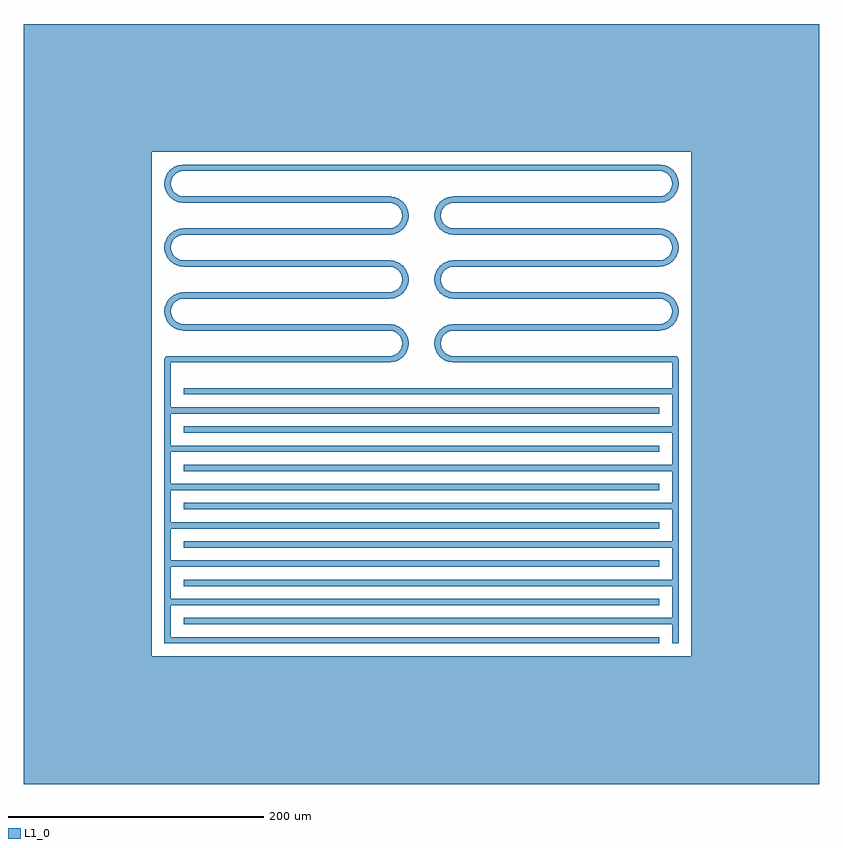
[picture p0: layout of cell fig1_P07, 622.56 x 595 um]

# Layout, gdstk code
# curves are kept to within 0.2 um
import gdstk
lib = gdstk.Library(unit=1e-6, precision=1e-09)
def R(c, l, rs):  # rectangles x0, y0, x1, y1
    for r in rs: c.add(gdstk.rectangle(r[:2], r[2:], *l))
def A(c, l, x, y, w, h, nx, ny, dx, dy):  # array of equal rectangles
    R(c, l, [(x+i*dx, y+j*dy, x+i*dx+w, y+j*dy+h) for i in range(nx) for j in range(ny)])
def P(c, l, *ps):  # polygons
    for p in ps: c.add(gdstk.Polygon(p, *l))
L1_0 = (1, 0)

fig1_p07 = lib.new_cell('fig1_P07')
A(fig1_p07, L1_0, -201.282, 0, 387.564, 5, 1, 7, 0, 30)
A(fig1_p07, L1_0, -186.282, 15, 387.564, 5, 1, 7, 0, 30)
A(fig1_p07, L1_0, -186.282, 245, 161.282, 5, 1, 5, 0, 25)
A(fig1_p07, L1_0, 25, 245, 161.282, 5, 1, 5, 0, 25)
R(fig1_p07, L1_0, [(-311.282,-110,311.282,-10), (-311.282,-10,-211.282,385), (211.282,-10,311.282,385), (-201.282,0,-196.282,200), (196.282,0,201.282,200), (-201.282,197.5,-196.282,222.5), (196.282,197.5,201.282,222.5), (-198.782,220,-25,225), (25,220,198.782,225), (-186.282,370,186.282,375), (-311.282,385,311.282,485)])
P(fig1_p07, L1_0, [(14.979,334.674),(10.021,335.326),(10.447,338.562),(15.405,337.909)],
  [(12.926,335.735),(11.158,336.467),(10.426,338.235),(11.158,340.003),(12.926,340.735),(14.694,340.003),(15.426,338.235),(14.694,336.467)],
  [(12.5,332.5),(10.732,333.232),(10,335),(10.732,336.768),(12.5,337.5),(14.268,336.768),(15,335),(14.268,333.232)],
  [(194.054,347.191),(191.01,351.158),(193.599,353.145),(196.643,349.178)],
  [(190.474,345.616),(188.561,350.236),(191.575,351.484),(193.489,346.865)],
  [(186.608,345.021),(185.956,349.979),(189.191,350.405),(189.844,345.447)],
  [(189.191,369.595),(185.956,370.021),(186.608,374.979),(189.844,374.553)],
  [(191.575,368.516),(188.561,369.764),(190.474,374.384),(193.489,373.135)],
  [(193.599,366.855),(191.01,368.842),(194.054,372.809),(196.643,370.822)],
  [(195.124,364.728),(193.137,367.317),(197.104,370.361),(199.091,367.772)],
  [(196.046,362.279),(194.798,365.293),(199.417,367.207),(200.666,364.192)],
  [(196.303,359.674),(195.877,362.909),(200.835,363.562),(201.261,360.326)],
  [(200.835,356.438),(195.877,357.091),(196.303,360.326),(201.261,359.674)],
  [(186.282,370),(184.514,370.732),(183.782,372.5),(184.514,374.268),(186.282,375),(188.05,374.268),(188.782,372.5),(188.05,370.732)],
  [(189.517,369.574),(187.749,370.306),(187.017,372.074),(187.749,373.842),(189.517,374.574),(191.285,373.842),(192.017,372.074),(191.285,370.306)],
  [(192.532,368.325),(190.764,369.058),(190.032,370.825),(190.764,372.593),(192.532,373.325),(194.3,372.593),(195.032,370.825),(194.3,369.058)],
  [(195.121,366.339),(193.353,367.071),(192.621,368.839),(193.353,370.607),(195.121,371.339),(196.889,370.607),(197.621,368.839),(196.889,367.071)],
  [(197.107,363.75),(195.34,364.482),(194.607,366.25),(195.34,368.018),(197.107,368.75),(198.875,368.018),(199.607,366.25),(198.875,364.482)],
  [(198.356,360.735),(196.588,361.467),(195.856,363.235),(196.588,365.003),(198.356,365.735),(200.124,365.003),(200.856,363.235),(200.124,361.467)],
  [(198.782,357.5),(197.014,358.232),(196.282,360),(197.014,361.768),(198.782,362.5),(200.55,361.768),(201.282,360),(200.55,358.232)],
  [(198.356,354.265),(196.588,354.997),(195.856,356.765),(196.588,358.533),(198.356,359.265),(200.124,358.533),(200.856,356.765),(200.124,354.997)],
  [(197.107,351.25),(195.34,351.982),(194.607,353.75),(195.34,355.518),(197.107,356.25),(198.875,355.518),(199.607,353.75),(198.875,351.982)],
  [(195.121,348.661),(193.353,349.393),(192.621,351.161),(193.353,352.929),(195.121,353.661),(196.889,352.929),(197.621,351.161),(196.889,349.393)],
  [(192.532,346.675),(190.764,347.407),(190.032,349.175),(190.764,350.942),(192.532,351.675),(194.3,350.942),(195.032,349.175),(194.3,347.407)],
  [(189.517,345.426),(187.749,346.158),(187.017,347.926),(187.749,349.694),(189.517,350.426),(191.285,349.694),(192.017,347.926),(191.285,346.158)],
  [(186.282,345),(184.514,345.732),(183.782,347.5),(184.514,349.268),(186.282,350),(188.05,349.268),(188.782,347.5),(188.05,345.732)],
  [(199.417,352.793),(194.798,354.707),(196.046,357.721),(200.666,355.808)],
  [(197.104,349.639),(193.137,352.683),(195.124,355.272),(199.091,352.228)],
  [(19.707,343.516),(17.793,348.135),(20.808,349.384),(22.721,344.764)],
  [(17.683,341.855),(14.639,345.822),(17.228,347.809),(20.272,343.842)],
  [(16.158,339.728),(12.191,342.772),(14.178,345.361),(18.145,342.317)],
  [(25,345),(23.232,345.732),(22.5,347.5),(23.232,349.268),(25,350),(26.768,349.268),(27.5,347.5),(26.768,345.732)],
  [(21.765,344.574),(19.997,345.306),(19.265,347.074),(19.997,348.842),(21.765,349.574),(23.533,348.842),(24.265,347.074),(23.533,345.306)],
  [(18.75,343.325),(16.982,344.058),(16.25,345.825),(16.982,347.593),(18.75,348.325),(20.518,347.593),(21.25,345.825),(20.518,344.058)],
  [(16.161,341.339),(14.393,342.071),(13.661,343.839),(14.393,345.607),(16.161,346.339),(17.929,345.607),(18.661,343.839),(17.929,342.071)],
  [(14.175,338.75),(12.407,339.482),(11.675,341.25),(12.407,343.018),(14.175,343.75),(15.942,343.018),(16.675,341.25),(15.942,339.482)],
  [(15.236,337.279),(10.616,339.192),(11.865,342.207),(16.484,340.293)],
  [(22.091,344.595),(21.438,349.553),(24.674,349.979),(25.326,345.021)],
  [(16.158,239.728),(12.191,242.772),(14.178,245.361),(18.145,242.317)],
  [(15.236,237.279),(10.616,239.192),(11.865,242.207),(16.484,240.293)],
  [(14.979,234.674),(10.021,235.326),(10.447,238.562),(15.405,237.909)],
  [(10.447,231.438),(10.021,234.674),(14.979,235.326),(15.405,232.091)],
  [(11.865,227.793),(10.616,230.808),(15.236,232.721),(16.484,229.707)],
  [(14.178,224.639),(12.191,227.228),(16.158,230.272),(18.145,227.683)],
  [(17.228,222.191),(14.639,224.178),(17.683,228.145),(20.272,226.158)],
  [(20.808,220.616),(17.793,221.865),(19.707,226.484),(22.721,225.236)],
  [(24.674,220.021),(21.438,220.447),(22.091,225.405),(25.326,224.979)],
  [(20.808,320.616),(17.793,321.865),(19.707,326.484),(22.721,325.236)],
  [(24.674,320.021),(21.438,320.447),(22.091,325.405),(25.326,324.979)],
  [(10.447,331.438),(10.021,334.674),(14.979,335.326),(15.405,332.091)],
  [(11.865,327.793),(10.616,330.808),(15.236,332.721),(16.484,329.707)],
  [(22.091,294.595),(21.438,299.553),(24.674,299.979),(25.326,295.021)],
  [(19.707,293.516),(17.793,298.135),(20.808,299.384),(22.721,294.764)],
  [(17.683,291.855),(14.639,295.822),(17.228,297.809),(20.272,293.842)],
  [(16.158,289.728),(12.191,292.772),(14.178,295.361),(18.145,292.317)],
  [(15.236,287.279),(10.616,289.192),(11.865,292.207),(16.484,290.293)],
  [(14.979,284.674),(10.021,285.326),(10.447,288.562),(15.405,287.909)],
  [(10.447,281.438),(10.021,284.674),(14.979,285.326),(15.405,282.091)],
  [(11.865,277.793),(10.616,280.808),(15.236,282.721),(16.484,279.707)],
  [(14.178,274.639),(12.191,277.228),(16.158,280.272),(18.145,277.683)],
  [(17.228,272.191),(14.639,274.178),(17.683,278.145),(20.272,276.158)],
  [(20.808,270.616),(17.793,271.865),(19.707,276.484),(22.721,275.236)],
  [(24.674,270.021),(21.438,270.447),(22.091,275.405),(25.326,274.979)],
  [(14.178,324.639),(12.191,327.228),(16.158,330.272),(18.145,327.683)],
  [(17.228,322.191),(14.639,324.178),(17.683,328.145),(20.272,326.158)],
  [(22.091,244.595),(21.438,249.553),(24.674,249.979),(25.326,245.021)],
  [(19.707,243.516),(17.793,248.135),(20.808,249.384),(22.721,244.764)],
  [(17.683,241.855),(14.639,245.822),(17.228,247.809),(20.272,243.842)],
  [(12.926,329.265),(11.158,329.997),(10.426,331.765),(11.158,333.533),(12.926,334.265),(14.694,333.533),(15.426,331.765),(14.694,329.997)],
  [(14.175,326.25),(12.407,326.982),(11.675,328.75),(12.407,330.518),(14.175,331.25),(15.942,330.518),(16.675,328.75),(15.942,326.982)],
  [(16.161,323.661),(14.393,324.393),(13.661,326.161),(14.393,327.929),(16.161,328.661),(17.929,327.929),(18.661,326.161),(17.929,324.393)],
  [(18.75,321.675),(16.982,322.407),(16.25,324.175),(16.982,325.942),(18.75,326.675),(20.518,325.942),(21.25,324.175),(20.518,322.407)],
  [(21.765,320.426),(19.997,321.158),(19.265,322.926),(19.997,324.694),(21.765,325.426),(23.533,324.694),(24.265,322.926),(23.533,321.158)],
  [(25,320),(23.232,320.732),(22.5,322.5),(23.232,324.268),(25,325),(26.768,324.268),(27.5,322.5),(26.768,320.732)],
  [(25,295),(23.232,295.732),(22.5,297.5),(23.232,299.268),(25,300),(26.768,299.268),(27.5,297.5),(26.768,295.732)],
  [(21.765,294.574),(19.997,295.306),(19.265,297.074),(19.997,298.842),(21.765,299.574),(23.533,298.842),(24.265,297.074),(23.533,295.306)],
  [(18.75,293.325),(16.982,294.058),(16.25,295.825),(16.982,297.593),(18.75,298.325),(20.518,297.593),(21.25,295.825),(20.518,294.058)],
  [(16.161,291.339),(14.393,292.071),(13.661,293.839),(14.393,295.607),(16.161,296.339),(17.929,295.607),(18.661,293.839),(17.929,292.071)],
  [(14.175,288.75),(12.407,289.482),(11.675,291.25),(12.407,293.018),(14.175,293.75),(15.942,293.018),(16.675,291.25),(15.942,289.482)],
  [(12.926,285.735),(11.158,286.467),(10.426,288.235),(11.158,290.003),(12.926,290.735),(14.694,290.003),(15.426,288.235),(14.694,286.467)],
  [(12.5,282.5),(10.732,283.232),(10,285),(10.732,286.768),(12.5,287.5),(14.268,286.768),(15,285),(14.268,283.232)],
  [(12.926,279.265),(11.158,279.997),(10.426,281.765),(11.158,283.533),(12.926,284.265),(14.694,283.533),(15.426,281.765),(14.694,279.997)],
  [(14.175,276.25),(12.407,276.982),(11.675,278.75),(12.407,280.518),(14.175,281.25),(15.942,280.518),(16.675,278.75),(15.942,276.982)],
  [(16.161,273.661),(14.393,274.393),(13.661,276.161),(14.393,277.929),(16.161,278.661),(17.929,277.929),(18.661,276.161),(17.929,274.393)],
  [(18.75,271.675),(16.982,272.407),(16.25,274.175),(16.982,275.942),(18.75,276.675),(20.518,275.942),(21.25,274.175),(20.518,272.407)],
  [(21.765,270.426),(19.997,271.158),(19.265,272.926),(19.997,274.694),(21.765,275.426),(23.533,274.694),(24.265,272.926),(23.533,271.158)],
  [(25,270),(23.232,270.732),(22.5,272.5),(23.232,274.268),(25,275),(26.768,274.268),(27.5,272.5),(26.768,270.732)],
  [(25,245),(23.232,245.732),(22.5,247.5),(23.232,249.268),(25,250),(26.768,249.268),(27.5,247.5),(26.768,245.732)],
  [(21.765,244.574),(19.997,245.306),(19.265,247.074),(19.997,248.842),(21.765,249.574),(23.533,248.842),(24.265,247.074),(23.533,245.306)],
  [(18.75,243.325),(16.982,244.058),(16.25,245.825),(16.982,247.593),(18.75,248.325),(20.518,247.593),(21.25,245.825),(20.518,244.058)],
  [(16.161,241.339),(14.393,242.071),(13.661,243.839),(14.393,245.607),(16.161,246.339),(17.929,245.607),(18.661,243.839),(17.929,242.071)],
  [(14.175,238.75),(12.407,239.482),(11.675,241.25),(12.407,243.018),(14.175,243.75),(15.942,243.018),(16.675,241.25),(15.942,239.482)],
  [(12.926,235.735),(11.158,236.467),(10.426,238.235),(11.158,240.003),(12.926,240.735),(14.694,240.003),(15.426,238.235),(14.694,236.467)],
  [(12.5,232.5),(10.732,233.232),(10,235),(10.732,236.768),(12.5,237.5),(14.268,236.768),(15,235),(14.268,233.232)],
  [(12.926,229.265),(11.158,229.997),(10.426,231.765),(11.158,233.533),(12.926,234.265),(14.694,233.533),(15.426,231.765),(14.694,229.997)],
  [(14.175,226.25),(12.407,226.982),(11.675,228.75),(12.407,230.518),(14.175,231.25),(15.942,230.518),(16.675,228.75),(15.942,226.982)],
  [(16.161,223.661),(14.393,224.393),(13.661,226.161),(14.393,227.929),(16.161,228.661),(17.929,227.929),(18.661,226.161),(17.929,224.393)],
  [(18.75,221.675),(16.982,222.407),(16.25,224.175),(16.982,225.942),(18.75,226.675),(20.518,225.942),(21.25,224.175),(20.518,222.407)],
  [(21.765,220.426),(19.997,221.158),(19.265,222.926),(19.997,224.694),(21.765,225.426),(23.533,224.694),(24.265,222.926),(23.533,221.158)],
  [(25,220),(23.232,220.732),(22.5,222.5),(23.232,224.268),(25,225),(26.768,224.268),(27.5,222.5),(26.768,220.732)],
  [(189.517,319.574),(187.749,320.306),(187.017,322.074),(187.749,323.842),(189.517,324.574),(191.285,323.842),(192.017,322.074),(191.285,320.306)],
  [(192.532,318.325),(190.764,319.058),(190.032,320.825),(190.764,322.593),(192.532,323.325),(194.3,322.593),(195.032,320.825),(194.3,319.058)],
  [(195.121,316.339),(193.353,317.071),(192.621,318.839),(193.353,320.607),(195.121,321.339),(196.889,320.607),(197.621,318.839),(196.889,317.071)],
  [(197.107,313.75),(195.34,314.482),(194.607,316.25),(195.34,318.018),(197.107,318.75),(198.875,318.018),(199.607,316.25),(198.875,314.482)],
  [(198.356,310.735),(196.588,311.467),(195.856,313.235),(196.588,315.003),(198.356,315.735),(200.124,315.003),(200.856,313.235),(200.124,311.467)],
  [(198.782,307.5),(197.014,308.232),(196.282,310),(197.014,311.768),(198.782,312.5),(200.55,311.768),(201.282,310),(200.55,308.232)],
  [(198.356,304.265),(196.588,304.997),(195.856,306.765),(196.588,308.533),(198.356,309.265),(200.124,308.533),(200.856,306.765),(200.124,304.997)],
  [(197.107,301.25),(195.34,301.982),(194.607,303.75),(195.34,305.518),(197.107,306.25),(198.875,305.518),(199.607,303.75),(198.875,301.982)],
  [(195.121,298.661),(193.353,299.393),(192.621,301.161),(193.353,302.929),(195.121,303.661),(196.889,302.929),(197.621,301.161),(196.889,299.393)],
  [(192.532,296.675),(190.764,297.407),(190.032,299.175),(190.764,300.942),(192.532,301.675),(194.3,300.942),(195.032,299.175),(194.3,297.407)],
  [(189.517,295.426),(187.749,296.158),(187.017,297.926),(187.749,299.694),(189.517,300.426),(191.285,299.694),(192.017,297.926),(191.285,296.158)],
  [(186.282,295),(184.514,295.732),(183.782,297.5),(184.514,299.268),(186.282,300),(188.05,299.268),(188.782,297.5),(188.05,295.732)],
  [(193.599,266.855),(191.01,268.842),(194.054,272.809),(196.643,270.822)],
  [(195.124,264.728),(193.137,267.317),(197.104,270.361),(199.091,267.772)],
  [(196.046,262.279),(194.798,265.293),(199.417,267.207),(200.666,264.192)],
  [(196.303,259.674),(195.877,262.909),(200.835,263.562),(201.261,260.326)],
  [(200.835,256.438),(195.877,257.091),(196.303,260.326),(201.261,259.674)],
  [(199.417,252.793),(194.798,254.707),(196.046,257.721),(200.666,255.808)],
  [(197.104,249.639),(193.137,252.683),(195.124,255.272),(199.091,252.228)],
  [(194.054,247.191),(191.01,251.158),(193.599,253.145),(196.643,249.178)],
  [(190.474,245.616),(188.561,250.236),(191.575,251.484),(193.489,246.865)],
  [(186.608,245.021),(185.956,249.979),(189.191,250.405),(189.844,245.447)],
  [(189.191,319.595),(185.956,320.021),(186.608,324.979),(189.844,324.553)],
  [(191.575,318.516),(188.561,319.764),(190.474,324.384),(193.489,323.135)],
  [(193.599,316.855),(191.01,318.842),(194.054,322.809),(196.643,320.822)],
  [(186.282,270),(184.514,270.732),(183.782,272.5),(184.514,274.268),(186.282,275),(188.05,274.268),(188.782,272.5),(188.05,270.732)],
  [(189.517,269.574),(187.749,270.306),(187.017,272.074),(187.749,273.842),(189.517,274.574),(191.285,273.842),(192.017,272.074),(191.285,270.306)],
  [(192.532,268.325),(190.764,269.058),(190.032,270.825),(190.764,272.593),(192.532,273.325),(194.3,272.593),(195.032,270.825),(194.3,269.058)],
  [(195.121,266.339),(193.353,267.071),(192.621,268.839),(193.353,270.607),(195.121,271.339),(196.889,270.607),(197.621,268.839),(196.889,267.071)],
  [(197.107,263.75),(195.34,264.482),(194.607,266.25),(195.34,268.018),(197.107,268.75),(198.875,268.018),(199.607,266.25),(198.875,264.482)],
  [(198.356,260.735),(196.588,261.467),(195.856,263.235),(196.588,265.003),(198.356,265.735),(200.124,265.003),(200.856,263.235),(200.124,261.467)],
  [(198.782,257.5),(197.014,258.232),(196.282,260),(197.014,261.768),(198.782,262.5),(200.55,261.768),(201.282,260),(200.55,258.232)],
  [(198.356,254.265),(196.588,254.997),(195.856,256.765),(196.588,258.533),(198.356,259.265),(200.124,258.533),(200.856,256.765),(200.124,254.997)],
  [(197.107,251.25),(195.34,251.982),(194.607,253.75),(195.34,255.518),(197.107,256.25),(198.875,255.518),(199.607,253.75),(198.875,251.982)],
  [(195.121,248.661),(193.353,249.393),(192.621,251.161),(193.353,252.929),(195.121,253.661),(196.889,252.929),(197.621,251.161),(196.889,249.393)],
  [(192.532,246.675),(190.764,247.407),(190.032,249.175),(190.764,250.942),(192.532,251.675),(194.3,250.942),(195.032,249.175),(194.3,247.407)],
  [(189.517,245.426),(187.749,246.158),(187.017,247.926),(187.749,249.694),(189.517,250.426),(191.285,249.694),(192.017,247.926),(191.285,246.158)],
  [(186.282,245),(184.514,245.732),(183.782,247.5),(184.514,249.268),(186.282,250),(188.05,249.268),(188.782,247.5),(188.05,245.732)],
  [(195.124,314.728),(193.137,317.317),(197.104,320.361),(199.091,317.772)],
  [(196.046,312.279),(194.798,315.293),(199.417,317.207),(200.666,314.192)],
  [(196.303,309.674),(195.877,312.909),(200.835,313.562),(201.261,310.326)],
  [(200.835,306.438),(195.877,307.091),(196.303,310.326),(201.261,309.674)],
  [(199.417,302.793),(194.798,304.707),(196.046,307.721),(200.666,305.808)],
  [(197.104,299.639),(193.137,302.683),(195.124,305.272),(199.091,302.228)],
  [(194.054,297.191),(191.01,301.158),(193.599,303.145),(196.643,299.178)],
  [(190.474,295.616),(188.561,300.236),(191.575,301.484),(193.489,296.865)],
  [(186.608,295.021),(185.956,299.979),(189.191,300.405),(189.844,295.447)],
  [(189.191,269.595),(185.956,270.021),(186.608,274.979),(189.844,274.553)],
  [(191.575,268.516),(188.561,269.764),(190.474,274.384),(193.489,273.135)],
  [(186.282,320),(184.514,320.732),(183.782,322.5),(184.514,324.268),(186.282,325),(188.05,324.268),(188.782,322.5),(188.05,320.732)],
  [(198.782,220),(197.014,220.732),(196.282,222.5),(197.014,224.268),(198.782,225),(200.55,224.268),(201.282,222.5),(200.55,220.732)],
  [(-12.5,332.5),(-14.268,333.232),(-15,335),(-14.268,336.768),(-12.5,337.5),(-10.732,336.768),(-10,335),(-10.732,333.232)],
  [(-12.926,335.735),(-14.694,336.467),(-15.426,338.235),(-14.694,340.003),(-12.926,340.735),(-11.158,340.003),(-10.426,338.235),(-11.158,336.467)],
  [(-14.979,334.674),(-15.405,337.909),(-10.447,338.562),(-10.021,335.326)],
  [(-18.75,343.325),(-20.518,344.058),(-21.25,345.825),(-20.518,347.593),(-18.75,348.325),(-16.982,347.593),(-16.25,345.825),(-16.982,344.058)],
  [(-21.765,344.574),(-23.533,345.306),(-24.265,347.074),(-23.533,348.842),(-21.765,349.574),(-19.997,348.842),(-19.265,347.074),(-19.997,345.306)],
  [(-25,345),(-26.768,345.732),(-27.5,347.5),(-26.768,349.268),(-25,350),(-23.232,349.268),(-22.5,347.5),(-23.232,345.732)],
  [(-14.175,338.75),(-15.942,339.482),(-16.675,341.25),(-15.942,343.018),(-14.175,343.75),(-12.407,343.018),(-11.675,341.25),(-12.407,339.482)],
  [(-15.236,337.279),(-16.484,340.293),(-11.865,342.207),(-10.616,339.192)],
  [(-16.158,339.728),(-18.145,342.317),(-14.178,345.361),(-12.191,342.772)],
  [(-17.683,341.855),(-20.272,343.842),(-17.228,347.809),(-14.639,345.822)],
  [(-19.707,343.516),(-22.721,344.764),(-20.808,349.384),(-17.793,348.135)],
  [(-22.091,344.595),(-25.326,345.021),(-24.674,349.979),(-21.438,349.553)],
  [(-16.161,341.339),(-17.929,342.071),(-18.661,343.839),(-17.929,345.607),(-16.161,346.339),(-14.393,345.607),(-13.661,343.839),(-14.393,342.071)],
  [(-186.282,370),(-188.05,370.732),(-188.782,372.5),(-188.05,374.268),(-186.282,375),(-184.514,374.268),(-183.782,372.5),(-184.514,370.732)],
  [(-186.282,345),(-188.05,345.732),(-188.782,347.5),(-188.05,349.268),(-186.282,350),(-184.514,349.268),(-183.782,347.5),(-184.514,345.732)],
  [(-189.517,345.426),(-191.285,346.158),(-192.017,347.926),(-191.285,349.694),(-189.517,350.426),(-187.749,349.694),(-187.017,347.926),(-187.749,346.158)],
  [(-192.532,346.675),(-194.3,347.407),(-195.032,349.175),(-194.3,350.942),(-192.532,351.675),(-190.764,350.942),(-190.032,349.175),(-190.764,347.407)],
  [(-195.121,348.661),(-196.889,349.393),(-197.621,351.161),(-196.889,352.929),(-195.121,353.661),(-193.353,352.929),(-192.621,351.161),(-193.353,349.393)],
  [(-197.107,351.25),(-198.875,351.982),(-199.607,353.75),(-198.875,355.518),(-197.107,356.25),(-195.34,355.518),(-194.607,353.75),(-195.34,351.982)],
  [(-198.356,354.265),(-200.124,354.997),(-200.856,356.765),(-200.124,358.533),(-198.356,359.265),(-196.588,358.533),(-195.856,356.765),(-196.588,354.997)],
  [(-198.782,357.5),(-200.55,358.232),(-201.282,360),(-200.55,361.768),(-198.782,362.5),(-197.014,361.768),(-196.282,360),(-197.014,358.232)],
  [(-198.356,360.735),(-200.124,361.467),(-200.856,363.235),(-200.124,365.003),(-198.356,365.735),(-196.588,365.003),(-195.856,363.235),(-196.588,361.467)],
  [(-197.107,363.75),(-198.875,364.482),(-199.607,366.25),(-198.875,368.018),(-197.107,368.75),(-195.34,368.018),(-194.607,366.25),(-195.34,364.482)],
  [(-195.121,366.339),(-196.889,367.071),(-197.621,368.839),(-196.889,370.607),(-195.121,371.339),(-193.353,370.607),(-192.621,368.839),(-193.353,367.071)],
  [(-192.532,368.325),(-194.3,369.058),(-195.032,370.825),(-194.3,372.593),(-192.532,373.325),(-190.764,372.593),(-190.032,370.825),(-190.764,369.058)],
  [(-189.517,369.574),(-191.285,370.306),(-192.017,372.074),(-191.285,373.842),(-189.517,374.574),(-187.749,373.842),(-187.017,372.074),(-187.749,370.306)],
  [(-186.608,345.021),(-189.844,345.447),(-189.191,350.405),(-185.956,349.979)],
  [(-190.474,345.616),(-193.489,346.865),(-191.575,351.484),(-188.561,350.236)],
  [(-194.054,347.191),(-196.643,349.178),(-193.599,353.145),(-191.01,351.158)],
  [(-197.104,349.639),(-199.091,352.228),(-195.124,355.272),(-193.137,352.683)],
  [(-199.417,352.793),(-200.666,355.808),(-196.046,357.721),(-194.798,354.707)],
  [(-200.835,356.438),(-201.261,359.674),(-196.303,360.326),(-195.877,357.091)],
  [(-196.303,359.674),(-201.261,360.326),(-200.835,363.562),(-195.877,362.909)],
  [(-196.046,362.279),(-200.666,364.192),(-199.417,367.207),(-194.798,365.293)],
  [(-195.124,364.728),(-199.091,367.772),(-197.104,370.361),(-193.137,367.317)],
  [(-193.599,366.855),(-196.643,370.822),(-194.054,372.809),(-191.01,368.842)],
  [(-191.575,368.516),(-193.489,373.135),(-190.474,374.384),(-188.561,369.764)],
  [(-189.191,369.595),(-189.844,374.553),(-186.608,374.979),(-185.956,370.021)],
  [(-195.121,298.661),(-196.889,299.393),(-197.621,301.161),(-196.889,302.929),(-195.121,303.661),(-193.353,302.929),(-192.621,301.161),(-193.353,299.393)],
  [(-197.107,301.25),(-198.875,301.982),(-199.607,303.75),(-198.875,305.518),(-197.107,306.25),(-195.34,305.518),(-194.607,303.75),(-195.34,301.982)],
  [(-198.356,304.265),(-200.124,304.997),(-200.856,306.765),(-200.124,308.533),(-198.356,309.265),(-196.588,308.533),(-195.856,306.765),(-196.588,304.997)],
  [(-198.782,307.5),(-200.55,308.232),(-201.282,310),(-200.55,311.768),(-198.782,312.5),(-197.014,311.768),(-196.282,310),(-197.014,308.232)],
  [(-198.356,310.735),(-200.124,311.467),(-200.856,313.235),(-200.124,315.003),(-198.356,315.735),(-196.588,315.003),(-195.856,313.235),(-196.588,311.467)],
  [(-186.608,245.021),(-189.844,245.447),(-189.191,250.405),(-185.956,249.979)],
  [(-190.474,245.616),(-193.489,246.865),(-191.575,251.484),(-188.561,250.236)],
  [(-194.054,247.191),(-196.643,249.178),(-193.599,253.145),(-191.01,251.158)],
  [(-197.104,249.639),(-199.091,252.228),(-195.124,255.272),(-193.137,252.683)],
  [(-199.417,252.793),(-200.666,255.808),(-196.046,257.721),(-194.798,254.707)],
  [(-200.835,256.438),(-201.261,259.674),(-196.303,260.326),(-195.877,257.091)],
  [(-196.303,259.674),(-201.261,260.326),(-200.835,263.562),(-195.877,262.909)],
  [(-196.046,262.279),(-200.666,264.192),(-199.417,267.207),(-194.798,265.293)],
  [(-195.124,264.728),(-199.091,267.772),(-197.104,270.361),(-193.137,267.317)],
  [(-193.599,266.855),(-196.643,270.822),(-194.054,272.809),(-191.01,268.842)],
  [(-191.575,268.516),(-193.489,273.135),(-190.474,274.384),(-188.561,269.764)],
  [(-189.191,269.595),(-189.844,274.553),(-186.608,274.979),(-185.956,270.021)],
  [(-197.107,313.75),(-198.875,314.482),(-199.607,316.25),(-198.875,318.018),(-197.107,318.75),(-195.34,318.018),(-194.607,316.25),(-195.34,314.482)],
  [(-195.121,316.339),(-196.889,317.071),(-197.621,318.839),(-196.889,320.607),(-195.121,321.339),(-193.353,320.607),(-192.621,318.839),(-193.353,317.071)],
  [(-186.608,295.021),(-189.844,295.447),(-189.191,300.405),(-185.956,299.979)],
  [(-190.474,295.616),(-193.489,296.865),(-191.575,301.484),(-188.561,300.236)],
  [(-194.054,297.191),(-196.643,299.178),(-193.599,303.145),(-191.01,301.158)],
  [(-197.104,299.639),(-199.091,302.228),(-195.124,305.272),(-193.137,302.683)],
  [(-199.417,302.793),(-200.666,305.808),(-196.046,307.721),(-194.798,304.707)],
  [(-200.835,306.438),(-201.261,309.674),(-196.303,310.326),(-195.877,307.091)],
  [(-196.303,309.674),(-201.261,310.326),(-200.835,313.562),(-195.877,312.909)],
  [(-196.046,312.279),(-200.666,314.192),(-199.417,317.207),(-194.798,315.293)],
  [(-195.124,314.728),(-199.091,317.772),(-197.104,320.361),(-193.137,317.317)],
  [(-193.599,316.855),(-196.643,320.822),(-194.054,322.809),(-191.01,318.842)],
  [(-191.575,318.516),(-193.489,323.135),(-190.474,324.384),(-188.561,319.764)],
  [(-189.191,319.595),(-189.844,324.553),(-186.608,324.979),(-185.956,320.021)],
  [(-192.532,318.325),(-194.3,319.058),(-195.032,320.825),(-194.3,322.593),(-192.532,323.325),(-190.764,322.593),(-190.032,320.825),(-190.764,319.058)],
  [(-189.517,319.574),(-191.285,320.306),(-192.017,322.074),(-191.285,323.842),(-189.517,324.574),(-187.749,323.842),(-187.017,322.074),(-187.749,320.306)],
  [(-186.282,320),(-188.05,320.732),(-188.782,322.5),(-188.05,324.268),(-186.282,325),(-184.514,324.268),(-183.782,322.5),(-184.514,320.732)],
  [(-198.782,220),(-200.55,220.732),(-201.282,222.5),(-200.55,224.268),(-198.782,225),(-197.014,224.268),(-196.282,222.5),(-197.014,220.732)],
  [(-186.282,245),(-188.05,245.732),(-188.782,247.5),(-188.05,249.268),(-186.282,250),(-184.514,249.268),(-183.782,247.5),(-184.514,245.732)],
  [(-189.517,245.426),(-191.285,246.158),(-192.017,247.926),(-191.285,249.694),(-189.517,250.426),(-187.749,249.694),(-187.017,247.926),(-187.749,246.158)],
  [(-192.532,246.675),(-194.3,247.407),(-195.032,249.175),(-194.3,250.942),(-192.532,251.675),(-190.764,250.942),(-190.032,249.175),(-190.764,247.407)],
  [(-195.121,248.661),(-196.889,249.393),(-197.621,251.161),(-196.889,252.929),(-195.121,253.661),(-193.353,252.929),(-192.621,251.161),(-193.353,249.393)],
  [(-197.107,251.25),(-198.875,251.982),(-199.607,253.75),(-198.875,255.518),(-197.107,256.25),(-195.34,255.518),(-194.607,253.75),(-195.34,251.982)],
  [(-198.356,254.265),(-200.124,254.997),(-200.856,256.765),(-200.124,258.533),(-198.356,259.265),(-196.588,258.533),(-195.856,256.765),(-196.588,254.997)],
  [(-198.782,257.5),(-200.55,258.232),(-201.282,260),(-200.55,261.768),(-198.782,262.5),(-197.014,261.768),(-196.282,260),(-197.014,258.232)],
  [(-198.356,260.735),(-200.124,261.467),(-200.856,263.235),(-200.124,265.003),(-198.356,265.735),(-196.588,265.003),(-195.856,263.235),(-196.588,261.467)],
  [(-197.107,263.75),(-198.875,264.482),(-199.607,266.25),(-198.875,268.018),(-197.107,268.75),(-195.34,268.018),(-194.607,266.25),(-195.34,264.482)],
  [(-195.121,266.339),(-196.889,267.071),(-197.621,268.839),(-196.889,270.607),(-195.121,271.339),(-193.353,270.607),(-192.621,268.839),(-193.353,267.071)],
  [(-192.532,268.325),(-194.3,269.058),(-195.032,270.825),(-194.3,272.593),(-192.532,273.325),(-190.764,272.593),(-190.032,270.825),(-190.764,269.058)],
  [(-189.517,269.574),(-191.285,270.306),(-192.017,272.074),(-191.285,273.842),(-189.517,274.574),(-187.749,273.842),(-187.017,272.074),(-187.749,270.306)],
  [(-186.282,270),(-188.05,270.732),(-188.782,272.5),(-188.05,274.268),(-186.282,275),(-184.514,274.268),(-183.782,272.5),(-184.514,270.732)],
  [(-186.282,295),(-188.05,295.732),(-188.782,297.5),(-188.05,299.268),(-186.282,300),(-184.514,299.268),(-183.782,297.5),(-184.514,295.732)],
  [(-189.517,295.426),(-191.285,296.158),(-192.017,297.926),(-191.285,299.694),(-189.517,300.426),(-187.749,299.694),(-187.017,297.926),(-187.749,296.158)],
  [(-192.532,296.675),(-194.3,297.407),(-195.032,299.175),(-194.3,300.942),(-192.532,301.675),(-190.764,300.942),(-190.032,299.175),(-190.764,297.407)],
  [(-25,245),(-26.768,245.732),(-27.5,247.5),(-26.768,249.268),(-25,250),(-23.232,249.268),(-22.5,247.5),(-23.232,245.732)],
  [(-25,320),(-26.768,320.732),(-27.5,322.5),(-26.768,324.268),(-25,325),(-23.232,324.268),(-22.5,322.5),(-23.232,320.732)],
  [(-21.765,320.426),(-23.533,321.158),(-24.265,322.926),(-23.533,324.694),(-21.765,325.426),(-19.997,324.694),(-19.265,322.926),(-19.997,321.158)],
  [(-18.75,321.675),(-20.518,322.407),(-21.25,324.175),(-20.518,325.942),(-18.75,326.675),(-16.982,325.942),(-16.25,324.175),(-16.982,322.407)],
  [(-16.161,323.661),(-17.929,324.393),(-18.661,326.161),(-17.929,327.929),(-16.161,328.661),(-14.393,327.929),(-13.661,326.161),(-14.393,324.393)],
  [(-14.175,326.25),(-15.942,326.982),(-16.675,328.75),(-15.942,330.518),(-14.175,331.25),(-12.407,330.518),(-11.675,328.75),(-12.407,326.982)],
  [(-12.926,329.265),(-14.694,329.997),(-15.426,331.765),(-14.694,333.533),(-12.926,334.265),(-11.158,333.533),(-10.426,331.765),(-11.158,329.997)],
  [(-25,270),(-26.768,270.732),(-27.5,272.5),(-26.768,274.268),(-25,275),(-23.232,274.268),(-22.5,272.5),(-23.232,270.732)],
  [(-21.765,270.426),(-23.533,271.158),(-24.265,272.926),(-23.533,274.694),(-21.765,275.426),(-19.997,274.694),(-19.265,272.926),(-19.997,271.158)],
  [(-18.75,271.675),(-20.518,272.407),(-21.25,274.175),(-20.518,275.942),(-18.75,276.675),(-16.982,275.942),(-16.25,274.175),(-16.982,272.407)],
  [(-16.161,273.661),(-17.929,274.393),(-18.661,276.161),(-17.929,277.929),(-16.161,278.661),(-14.393,277.929),(-13.661,276.161),(-14.393,274.393)],
  [(-24.674,270.021),(-25.326,274.979),(-22.091,275.405),(-21.438,270.447)],
  [(-20.808,270.616),(-22.721,275.236),(-19.707,276.484),(-17.793,271.865)],
  [(-17.228,272.191),(-20.272,276.158),(-17.683,278.145),(-14.639,274.178)],
  [(-14.178,274.639),(-18.145,277.683),(-16.158,280.272),(-12.191,277.228)],
  [(-11.865,277.793),(-16.484,279.707),(-15.236,282.721),(-10.616,280.808)],
  [(-10.447,281.438),(-15.405,282.091),(-14.979,285.326),(-10.021,284.674)],
  [(-14.979,284.674),(-15.405,287.909),(-10.447,288.562),(-10.021,285.326)],
  [(-15.236,287.279),(-16.484,290.293),(-11.865,292.207),(-10.616,289.192)],
  [(-16.158,289.728),(-18.145,292.317),(-14.178,295.361),(-12.191,292.772)],
  [(-17.683,291.855),(-20.272,293.842),(-17.228,297.809),(-14.639,295.822)],
  [(-19.707,293.516),(-22.721,294.764),(-20.808,299.384),(-17.793,298.135)],
  [(-22.091,294.595),(-25.326,295.021),(-24.674,299.979),(-21.438,299.553)],
  [(-14.175,276.25),(-15.942,276.982),(-16.675,278.75),(-15.942,280.518),(-14.175,281.25),(-12.407,280.518),(-11.675,278.75),(-12.407,276.982)],
  [(-12.926,279.265),(-14.694,279.997),(-15.426,281.765),(-14.694,283.533),(-12.926,284.265),(-11.158,283.533),(-10.426,281.765),(-11.158,279.997)],
  [(-12.5,282.5),(-14.268,283.232),(-15,285),(-14.268,286.768),(-12.5,287.5),(-10.732,286.768),(-10,285),(-10.732,283.232)],
  [(-12.926,285.735),(-14.694,286.467),(-15.426,288.235),(-14.694,290.003),(-12.926,290.735),(-11.158,290.003),(-10.426,288.235),(-11.158,286.467)],
  [(-14.175,288.75),(-15.942,289.482),(-16.675,291.25),(-15.942,293.018),(-14.175,293.75),(-12.407,293.018),(-11.675,291.25),(-12.407,289.482)],
  [(-16.161,291.339),(-17.929,292.071),(-18.661,293.839),(-17.929,295.607),(-16.161,296.339),(-14.393,295.607),(-13.661,293.839),(-14.393,292.071)],
  [(-18.75,293.325),(-20.518,294.058),(-21.25,295.825),(-20.518,297.593),(-18.75,298.325),(-16.982,297.593),(-16.25,295.825),(-16.982,294.058)],
  [(-21.765,294.574),(-23.533,295.306),(-24.265,297.074),(-23.533,298.842),(-21.765,299.574),(-19.997,298.842),(-19.265,297.074),(-19.997,295.306)],
  [(-25,295),(-26.768,295.732),(-27.5,297.5),(-26.768,299.268),(-25,300),(-23.232,299.268),(-22.5,297.5),(-23.232,295.732)],
  [(-25,220),(-26.768,220.732),(-27.5,222.5),(-26.768,224.268),(-25,225),(-23.232,224.268),(-22.5,222.5),(-23.232,220.732)],
  [(-21.765,220.426),(-23.533,221.158),(-24.265,222.926),(-23.533,224.694),(-21.765,225.426),(-19.997,224.694),(-19.265,222.926),(-19.997,221.158)],
  [(-18.75,221.675),(-20.518,222.407),(-21.25,224.175),(-20.518,225.942),(-18.75,226.675),(-16.982,225.942),(-16.25,224.175),(-16.982,222.407)],
  [(-16.161,223.661),(-17.929,224.393),(-18.661,226.161),(-17.929,227.929),(-16.161,228.661),(-14.393,227.929),(-13.661,226.161),(-14.393,224.393)],
  [(-14.175,226.25),(-15.942,226.982),(-16.675,228.75),(-15.942,230.518),(-14.175,231.25),(-12.407,230.518),(-11.675,228.75),(-12.407,226.982)],
  [(-24.674,320.021),(-25.326,324.979),(-22.091,325.405),(-21.438,320.447)],
  [(-20.808,320.616),(-22.721,325.236),(-19.707,326.484),(-17.793,321.865)],
  [(-17.228,322.191),(-20.272,326.158),(-17.683,328.145),(-14.639,324.178)],
  [(-14.178,324.639),(-18.145,327.683),(-16.158,330.272),(-12.191,327.228)],
  [(-11.865,327.793),(-16.484,329.707),(-15.236,332.721),(-10.616,330.808)],
  [(-10.447,331.438),(-15.405,332.091),(-14.979,335.326),(-10.021,334.674)],
  [(-12.926,229.265),(-14.694,229.997),(-15.426,231.765),(-14.694,233.533),(-12.926,234.265),(-11.158,233.533),(-10.426,231.765),(-11.158,229.997)],
  [(-12.5,232.5),(-14.268,233.232),(-15,235),(-14.268,236.768),(-12.5,237.5),(-10.732,236.768),(-10,235),(-10.732,233.232)],
  [(-12.926,235.735),(-14.694,236.467),(-15.426,238.235),(-14.694,240.003),(-12.926,240.735),(-11.158,240.003),(-10.426,238.235),(-11.158,236.467)],
  [(-14.175,238.75),(-15.942,239.482),(-16.675,241.25),(-15.942,243.018),(-14.175,243.75),(-12.407,243.018),(-11.675,241.25),(-12.407,239.482)],
  [(-24.674,220.021),(-25.326,224.979),(-22.091,225.405),(-21.438,220.447)],
  [(-20.808,220.616),(-22.721,225.236),(-19.707,226.484),(-17.793,221.865)],
  [(-17.228,222.191),(-20.272,226.158),(-17.683,228.145),(-14.639,224.178)],
  [(-14.178,224.639),(-18.145,227.683),(-16.158,230.272),(-12.191,227.228)],
  [(-11.865,227.793),(-16.484,229.707),(-15.236,232.721),(-10.616,230.808)],
  [(-10.447,231.438),(-15.405,232.091),(-14.979,235.326),(-10.021,234.674)],
  [(-14.979,234.674),(-15.405,237.909),(-10.447,238.562),(-10.021,235.326)],
  [(-15.236,237.279),(-16.484,240.293),(-11.865,242.207),(-10.616,239.192)],
  [(-16.158,239.728),(-18.145,242.317),(-14.178,245.361),(-12.191,242.772)],
  [(-17.683,241.855),(-20.272,243.842),(-17.228,247.809),(-14.639,245.822)],
  [(-19.707,243.516),(-22.721,244.764),(-20.808,249.384),(-17.793,248.135)],
  [(-22.091,244.595),(-25.326,245.021),(-24.674,249.979),(-21.438,249.553)],
  [(-16.161,241.339),(-17.929,242.071),(-18.661,243.839),(-17.929,245.607),(-16.161,246.339),(-14.393,245.607),(-13.661,243.839),(-14.393,242.071)],
  [(-18.75,243.325),(-20.518,244.058),(-21.25,245.825),(-20.518,247.593),(-18.75,248.325),(-16.982,247.593),(-16.25,245.825),(-16.982,244.058)],
  [(-21.765,244.574),(-23.533,245.306),(-24.265,247.074),(-23.533,248.842),(-21.765,249.574),(-19.997,248.842),(-19.265,247.074),(-19.997,245.306)])

lib.write_gds('fig1_P07.gds')
